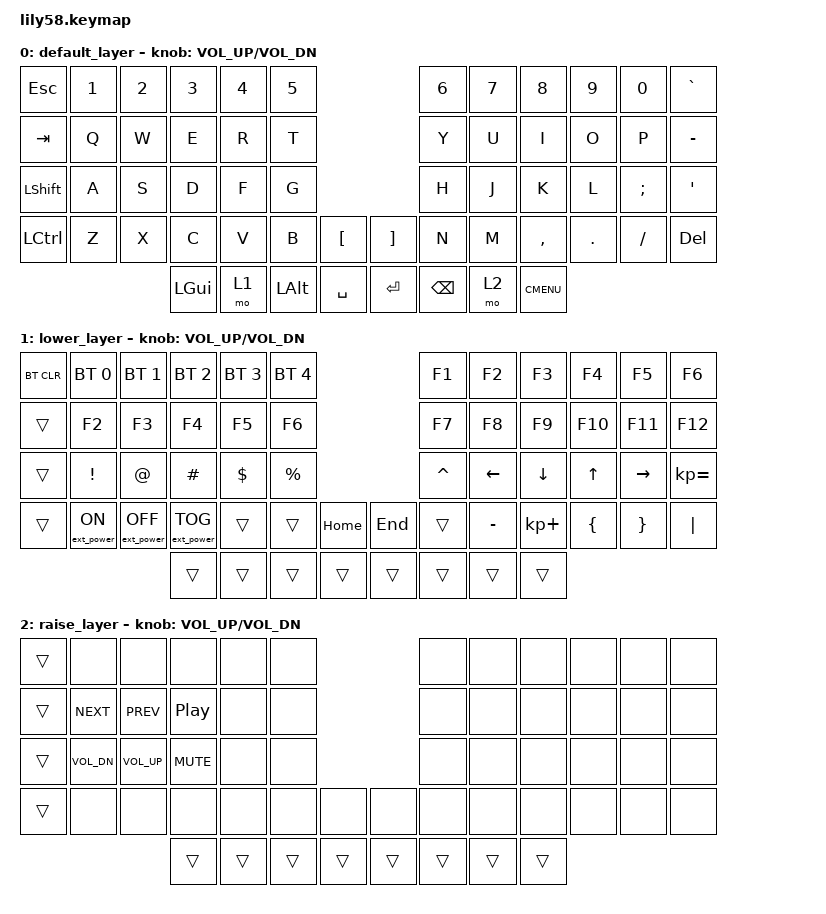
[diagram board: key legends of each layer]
/*
 * Copyright (c) 2020 The ZMK Contributors
 *
 * SPDX-License-Identifier: MIT
 */

#include <behaviors.dtsi>
#include <dt-bindings/zmk/keys.h>
#include <dt-bindings/zmk/bt.h>
#include <dt-bindings/zmk/ext_power.h>

/ {
	keymap {
		compatible = "zmk,keymap";

		default_layer {
// ------------------------------------------------------------------------------------------------------------
// |  ESC  |  1  |  2  |  3   |  4    |  5  |                   |  6   |  7    |   8   |  9   |   0   |   `   |
// |  TAB  |  Q  |  W  |  E   |  R    |  T  |                   |  Y   |  U    |   I   |  O   |   P   |   -   |
// | SHIFT |  A  |  S  |  D   |  F    |  G  |                   |  H   |  J    |   K   |  L   |   ;   |   '   |
// |  CTRL |  Z  |  X  |  C   |  V    |  B  |   "["  |  |  "]"  |  N   |  M    |   ,   |  .   |   /   |  DEL  |
//                     | GUI  | LOWER | ALT |  SPACE |  | ENTER | BSPC | RAISE | CMENU |
			bindings = <
&kp ESC   &kp N1 &kp N2 &kp N3   &kp N4 &kp N5                       &kp N6   &kp N7 &kp N8    &kp N9  &kp N0   &kp GRAVE
&kp TAB   &kp Q  &kp W  &kp E    &kp R  &kp T                        &kp Y    &kp U  &kp I     &kp O   &kp P    &kp MINUS
&kp LSHFT &kp A  &kp S  &kp D    &kp F  &kp G                        &kp H    &kp J  &kp K     &kp L   &kp SEMI &kp SQT
&kp LCTRL &kp Z  &kp X  &kp C    &kp V  &kp B    &kp LBKT   &kp RBKT &kp N    &kp M  &kp COMMA &kp DOT &kp FSLH &kp DEL
                        &kp LGUI &mo 1  &kp LALT &kp SPACE  &kp RET  &kp BSPC &mo 2  &kp K_CMENU
			>;

			sensor-bindings = <&inc_dec_kp C_VOL_UP C_VOL_DN>;
		};

		lower_layer {
// ------------------------------------------------------------------------------------------------------------
// | BTCLR | BT1 | BT2 |  BT3 |  BT4 |  BT5 |                  |  F1  |  F2  |  F3  |  F4  |  F5   |  F6   |
// |       |  F2 |  F3 |  F4  |  F5  |  F6  |                  |  F7  |  F8  |  F9  |  F10 |  F11  |  F12  |
// |       |  !  |  @  |  #   |  $   |  %   |                  |  ^   |  <-  |  ^   |  v   |  ->   |   =   |
// |       |     |     |      |      |      |  HOME  | |  END  |      |  _   |  +   |  {   |   }   |  "|"  |
//                     |      |      |      |        | |       |      |      |      |
			bindings = <
&bt BT_CLR &bt BT_SEL 0     &bt BT_SEL 1      &bt BT_SEL 2      &bt BT_SEL 3 &bt BT_SEL 4                 &kp F1    &kp F2    &kp F3       &kp F4    &kp F5    &kp F6
&trans     &kp F2           &kp F3            &kp F4            &kp F5       &kp F6                       &kp F7    &kp F8    &kp F9       &kp F10   &kp F11   &kp F12
&trans     &kp EXCL         &kp AT            &kp HASH          &kp DOLLAR   &kp PRCNT                    &kp CARET &kp LEFT  &kp DOWN     &kp UP    &kp RIGHT &kp KP_EQUAL
&trans     &ext_power EP_ON &ext_power EP_OFF &ext_power EP_TOG &trans       &trans    &kp HOME &kp END   &trans    &kp MINUS &kp KP_PLUS  &kp LBRC  &kp RBRC  &kp PIPE
                                              &trans            &trans       &trans    &trans   &trans    &trans    &trans    &trans
			>;

			sensor-bindings = <&inc_dec_kp C_VOL_UP C_VOL_DN>;
		};

		raise_layer {
// ------------------------------------------------------------------------------------------------------------
// |    |    |     |    |    |    |                |    |    |    |    |     |       |
// |    | S< |  S> | Sp |    |    |                |    |    |    |    |     |       |
// |    | Vv |  V^ | Vm |    |    |                |    |    |    |    |     |       |
// |    |    |     |    |    |    |    | |    |    |    |    |    |    |     |
//                 |    |    |    |    | |    |    |    |    |
			bindings = <
&trans  &none        &none        &none      &none  &none                     &none  &none  &none &none &none &none
&trans  &kp C_NEXT   &kp C_PREV   &kp C_PP   &none  &none                     &none  &none  &none &none &none &none
&trans  &kp C_VOL_DN &kp C_VOL_UP &kp C_MUTE &none  &none                     &none  &none  &none &none &none &none
&trans  &none        &none        &none      &none  &none  &none       &none  &none  &none  &none &none &none &none 
                                  &trans     &trans &trans &trans      &trans &trans &trans &trans
			>;  

			sensor-bindings = <&inc_dec_kp C_VOL_UP C_VOL_DN>;
		};
	};
};
